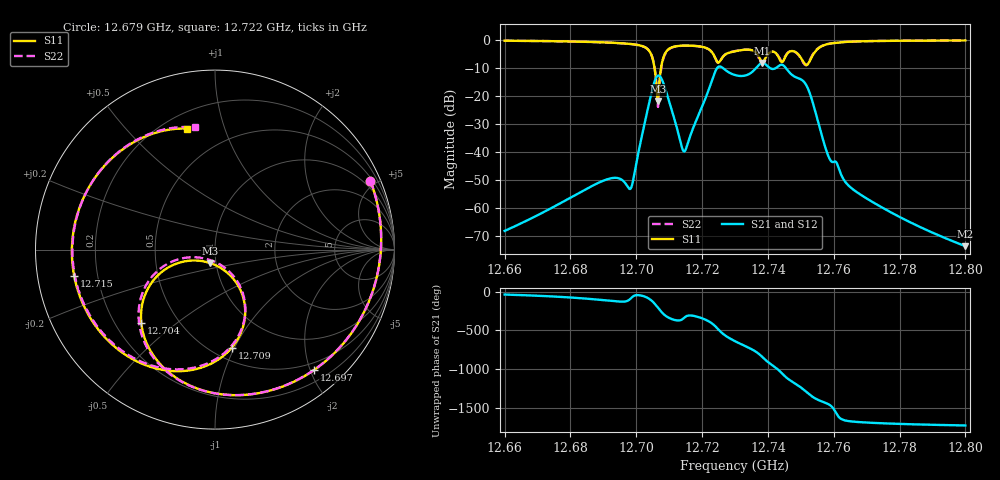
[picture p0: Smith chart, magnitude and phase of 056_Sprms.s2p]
! TOUCHSTONE file generated by CST MICROWAVE STUDIO
! Date and time: Wed Jul 31 13:30:57 2024
! Project name: WaveGuide_BPF-Ver4.1_U-shape_Ku_T3_C4_CWA_2.cst
! Parameters = {cavity_h=16; cavity_l0=10; cavity_l1=15.2333; cavity_l2=16.8453; cavity_l3=17.091; cavity_l4=17.31; cavity_l5=17.1112; cavity_l6=17.559; cavity_r=2.5; cavity_screw_l=0.5; cavity_screw_r=1.5; cavity_w=8; iris_h00=0; iris_h01=8.8251; iris_h112=0; iris_h12=5.6132; iris_h211=3.6561; iris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
! Header version: 2018
! Port assignment regex: !\s*Touchstone port\s*([0-9]+)\s*=\s*(CST MWS port|CST DS port)\s*([0-9]+|Zmin|Zmax)\s*\(\"(.*)\"\)(\s*mode\s*([0-9]+))?.*
! Touchstone port assignment:
! Touchstone port 1 = CST MWS port 1 ("")
! Touchstone port 2 = CST MWS port 2 ("")
# GHz S RI R 50
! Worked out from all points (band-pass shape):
!   5001 points, 12.66 GHz to 12.8 GHz, reference 50 ohm
!   highest |S21| = -8.15 dB at 12.738 GHz (marker M1); lowest = -73.7 dB at 12.8 GHz (marker M2)
!   |S21| within 3 dB of the highest: 12.72403 GHz to 12.72761 GHz (3.581 MHz wide, 0.0281 % of centre); 12.73546 GHz to 12.74624 GHz (10.78 MHz wide, 0.0846 % of centre)
!   lowest |S11| = -22.0 dB at 12.707 GHz (marker M3), VSWR 1.17, Z = 46.8 - j7.03 ohm
!   |S11| at or under -10 dB: 12.70555 GHz to 12.70751 GHz (1.96 MHz wide, 0.0154 % of centre)
!   |S22| runs from -23.9 to -0.1 dB; largest |S21 - S12| = 1.4e-09
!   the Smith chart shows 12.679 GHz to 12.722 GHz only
!   S11 on the Smith chart (normalised r, x): 12.679 GHz: 0.62, +4.64; 12.697 GHz: 0.38, -2.06; 12.704 GHz: 0.31, -0.38; 12.709 GHz: 0.62, -0.98; 12.715 GHz: 0.11, -0.09; 12.722 GHz: 0.29, +0.76
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12.66  0.5046 0.8329  0.000314 -0.000224  0.000314 -0.000224  0.5056 0.8324
12.67921  0.8655 0.3842  0.000457 -0.00136  0.000457 -0.00136  0.8656 0.384
12.68335  0.9158 0.1925  0.000221 -0.00194  0.000221 -0.00194  0.9158 0.1921
12.69657  0.5513 -0.6714  -0.00163 -0.00228  -0.00163 -0.00228  0.5446 -0.6751
12.69875  0.3309 -0.7787  0.000952 -0.00241  0.000952 -0.00241  0.3202 -0.7811
12.70438  -0.4107 -0.408  -0.0247 -0.096  -0.0247 -0.096  -0.4244 -0.3959
12.70651  -0.0279 -0.0747  -0.2129 0.0862  -0.2129 0.0862  -0.0458 -0.0523
12.70668  0.0164 -0.0935  -0.1985 0.1199  -0.1985 0.1199  -0.000235 -0.0686
12.70861  0.0939 -0.5456  0.0739 0.1266  0.0739 0.1266  0.1008 -0.5258
12.7151  -0.7848 -0.1455  0.00852 0.00752  0.00852 0.00752  -0.786 -0.1165
12.72191  -0.1534 0.6742  0.1173 -0.0417  0.1173 -0.0417  -0.1128 0.6808
12.72605  0.185 0.4416  -0.3229 -0.0375  -0.3229 -0.0375  0.2047 0.4331
12.73  0.6155 -0.138  0.038 0.2338  0.038 0.2338  0.6175 -0.1514
12.73384  0.0876 -0.6703  0.2396 0.0111  0.2396 0.0111  0.0823 -0.6697
12.73834  -0.2424 -0.3302  -0.2273 -0.3186  -0.2273 -0.3186  -0.2095 -0.3003
12.74271  -0.5266 -0.1819  0.0188 0.3244  0.0188 0.3244  -0.5196 -0.2186
12.74761  -0.6332 0.0531  0.00144 -0.2315  0.00144 -0.2315  -0.6288 0.0631
12.75052  -0.0703 0.4239  -0.1891 -0.0156  -0.1891 -0.0156  -0.0371 0.4138
12.75335  0.3843 -0.3234  0.00393 0.0864  0.00393 0.0864  0.3725 -0.3597
12.76156  -0.7033 -0.5703  -0.00502 0.000151  -0.00502 0.000151  -0.7075 -0.5674
12.77668  -0.9691 -0.00513  -7.28e-05 0.000871  -7.28e-05 0.000871  -0.9691 -0.00362
12.8  -0.9053 0.3874  7.1e-05 0.000194  7.1e-05 0.000194  -0.9044 0.3895
